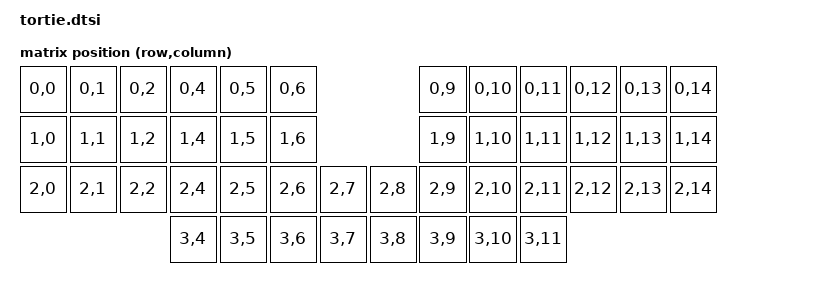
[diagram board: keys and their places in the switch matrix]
#include <dt-bindings/zmk/matrix_transform.h>

/ {
    kscan: kscan {
        compatible = "zmk,kscan-gpio-matrix";
        diode-direction = "col2row";
        wakeup-source; 
    };
};
/ {
    default_transform: keymap_transform0 {
        compatible = "zmk,matrix-transform";
        columns = <14>;
        rows = <4>;
        map = <
            RC(0,0) RC(0,1) RC(0,2) RC(0,4) RC(0,5) RC(0,6)                     RC(0,9) RC(0,10) RC(0,11) RC(0,12) RC(0,13) RC(0,14) 
            RC(1,0) RC(1,1) RC(1,2) RC(1,4) RC(1,5) RC(1,6)                     RC(1,9) RC(1,10) RC(1,11) RC(1,12) RC(1,13) RC(1,14) 
            RC(2,0) RC(2,1) RC(2,2) RC(2,4) RC(2,5) RC(2,6) RC(2,7)     RC(2,8) RC(2,9) RC(2,10) RC(2,11) RC(2,12) RC(2,13) RC(2,14)
                                    RC(3,4) RC(3,5) RC(3,6) RC(3,7)     RC(3,8) RC(3,9) RC(3,10) RC(3,11)
        >;
    };
};
/ {
    physical_layout0: default_layout {
        compatible = "zmk,physical-layout";
        display-name = "Default Layout";
        kscan = <&kscan>;
        transform = <&default_transform>;
    };
};
/ {
    chosen {
        zmk,physical-layout = &physical_layout0;
    };
};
